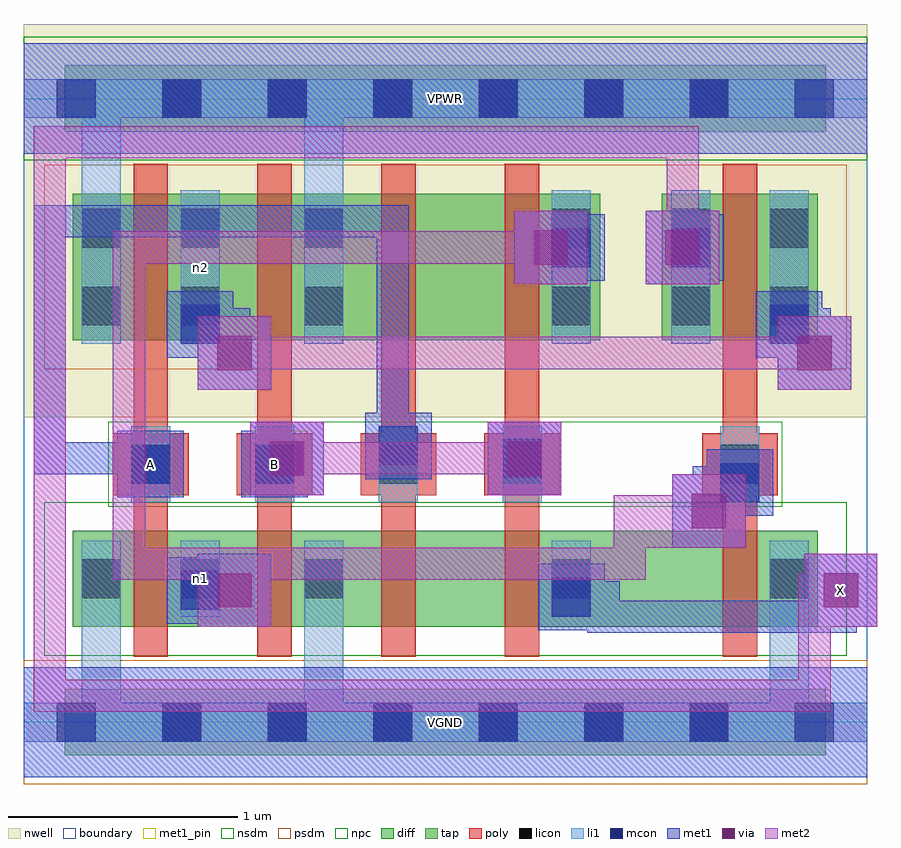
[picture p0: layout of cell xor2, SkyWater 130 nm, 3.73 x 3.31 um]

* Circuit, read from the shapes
.subckt xor2 A B VGND VPWR X n1 n2
XM1 n1 A VGND VGND sky130_fd_pr__nfet_01v8 w=0.42 l=0.15
XM2 VGND B n1 VGND sky130_fd_pr__nfet_01v8 w=0.42 l=0.15
XM3 n3 A VGND VGND sky130_fd_pr__nfet_01v8 w=0.42 l=0.15
XM4 X B n3 VGND sky130_fd_pr__nfet_01v8 w=0.42 l=0.15
XM5 VGND n1 X VGND sky130_fd_pr__nfet_01v8 w=0.42 l=0.15
XM6 n2 A VPWR VPWR sky130_fd_pr__pfet_01v8 w=0.64 l=0.15
XM7 VPWR B n2 VPWR sky130_fd_pr__pfet_01v8 w=0.64 l=0.15
XM8 n4 A VPWR VPWR sky130_fd_pr__pfet_01v8 w=0.64 l=0.15
XM9 n1 B n4 VPWR sky130_fd_pr__pfet_01v8 w=0.64 l=0.15
XM10 n2 n1 X VPWR sky130_fd_pr__pfet_01v8 w=0.64 l=0.15
.ends

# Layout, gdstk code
import gdstk
lib = gdstk.Library(unit=1e-6, precision=1e-09)
def R(c, l, rs):  # rectangles x0, y0, x1, y1
    for r in rs: c.add(gdstk.rectangle(r[:2], r[2:], *l))
def A(c, l, x, y, w, h, nx, ny, dx, dy):  # array of equal rectangles
    R(c, l, [(x+i*dx, y+j*dy, x+i*dx+w, y+j*dy+h) for i in range(nx) for j in range(ny)])
nwell = (64, 20)
diff = (65, 20)
tap = (65, 44)
poly = (66, 20)
licon = (66, 44)
li1 = (67, 20)
mcon = (67, 44)
met1_pin = (68, 16)
met1 = (68, 20)
via = (68, 44)
met2 = (69, 20)
nsdm = (93, 44)
psdm = (94, 20)
npc = (95, 20)
boundary = (235, 4)

xor2 = lib.new_cell('xor2')
R(xor2, nwell, [(0,1.33,3.68,3.045)])
R(xor2, diff, [(0.215,0.415,3.465,0.835), (0.215,1.665,2.515,2.305), (2.785,1.665,3.465,2.305)])
R(xor2, tap, [(0.18,-0.145,3.5,0.145), (0.18,2.575,3.5,2.865)])
A(xor2, poly, 0.48, 0.285, 0.15, 2.15, 4, 1, 0.54, 0)
A(xor2, poly, 0.39, 0.99, 0.33, 0.27, 4, 1, 0.54, 0)
R(xor2, poly, [(3.05,0.285,3.2,2.435), (2.96,0.99,3.29,1.26)])
A(xor2, licon, 0.605, -0.085, 0.17, 0.17, 6, 2, 0.46, 2.72)
A(xor2, licon, 0.47, 1.04, 0.17, 0.17, 4, 1, 0.54, 0)
R(xor2, licon, [(0.255,0.54,0.425,0.71), (0.685,0.54,0.855,0.71), (1.225,0.54,1.395,0.71), (2.305,0.54,2.475,0.71), (3.255,0.54,3.425,0.71), (3.04,1.04,3.21,1.21), (0.255,1.73,0.425,1.9), (0.685,1.73,0.855,1.9), (1.225,1.73,1.395,1.9), (2.305,1.73,2.475,1.9), (2.825,1.73,2.995,1.9), (3.255,1.73,3.425,1.9), (0.255,2.07,0.425,2.24), (0.685,2.07,0.855,2.24), (1.225,2.07,1.395,2.24), (2.305,2.07,2.475,2.24), (2.825,2.07,2.995,2.24), (3.255,2.07,3.425,2.24)])
A(xor2, li1, 0.47, 0.96, 0.17, 0.33, 4, 1, 0.54, 0)
R(xor2, li1, [(0,-0.085,3.68,0.085), (0.255,-0.085,0.425,0.79), (1.225,-0.085,1.395,0.79), (3.255,-0.085,3.425,0.79), (0.255,0.46,0.425,0.79), (0.685,0.46,0.855,0.79), (1.225,0.46,1.395,0.79), (2.305,0.46,2.475,0.79), (3.255,0.46,3.425,0.79), (3.04,0.96,3.21,1.29), (0.255,1.65,0.425,2.32), (0.255,1.65,0.425,2.805), (0.685,1.65,0.855,2.32), (1.225,1.65,1.395,2.32), (1.225,1.65,1.395,2.805), (2.305,1.65,2.475,2.32), (2.825,1.65,2.995,2.32), (3.255,1.65,3.425,2.32), (0,2.635,3.68,2.805)])
A(xor2, mcon, 0.145, -0.085, 0.17, 0.17, 8, 2, 0.46, 2.72)
R(xor2, mcon, [(2.305,0.46,2.475,0.63), (0.685,0.49,0.855,0.66), (3.04,0.96,3.21,1.13), (0.47,1.04,0.64,1.21), (1.01,1.04,1.18,1.21), (2.09,1.065,2.26,1.235), (1.55,1.12,1.72,1.29), (0.685,1.65,0.855,1.82), (3.255,1.65,3.425,1.82), (2.305,1.985,2.475,2.155), (2.825,1.985,2.995,2.155)])
R(xor2, met1_pin, [(0,-0.24,3.68,0.24), (3.405,0.415,3.725,0.735), (0.41,0.98,0.7,1.27), (0.95,0.98,1.24,1.27), (0,2.48,3.68,2.96)])
R(xor2, met1, [(0,-0.24,3.68,0.24), (2.46,0.39,2.6,0.615), (2.46,0.39,3.635,0.53), (3.495,0.39,3.635,0.645), (2.245,0.4,2.535,0.69), (0.76,0.415,1.08,0.735), (3.405,0.415,3.725,0.735), (0.625,0.43,0.915,0.72), (2.32,0.475,2.6,0.615), (0.7,0.505,0.99,0.645), (2.83,0.76,3.15,1.08), (2.92,0.85,3.06,1.115), (2.98,0.9,3.27,1.19), (2.92,0.975,3.195,1.115), (0.41,0.98,0.7,1.27), (0.95,0.98,1.24,1.27), (0.99,0.99,1.31,1.31), (2.025,0.99,2.345,1.31), (2.03,1.005,2.32,1.295), (1.49,1.06,1.78,1.35), (0.045,1.08,0.645,1.22), (0.045,1.08,0.185,2.255), (0.505,1.08,0.645,1.22), (1.08,1.08,1.22,1.22), (2.105,1.08,2.255,1.22), (1.54,1.135,1.705,1.275), (1.54,1.135,1.68,1.45), (1.54,1.31,1.68,2.255), (0.76,1.45,1.08,1.77), (3.29,1.45,3.61,1.77), (0.85,1.54,0.99,1.805), (3.38,1.54,3.52,1.805), (0.625,1.59,0.915,1.88), (3.195,1.59,3.485,1.88), (0.7,1.665,0.99,1.805), (3.27,1.665,3.52,1.805), (2.14,1.91,2.46,2.23), (2.715,1.91,3.035,2.23), (2.245,1.925,2.535,2.215), (2.765,1.925,3.055,2.215), (2.23,2,2.46,2.14), (2.805,2,2.98,2.14), (0.045,2.115,1.68,2.255), (0,2.48,3.68,2.96)])
R(xor2, via, [(0.845,0.5,0.995,0.65), (3.49,0.5,3.64,0.65), (2.915,0.845,3.065,0.995), (1.075,1.075,1.225,1.225), (2.11,1.075,2.26,1.225), (0.845,1.535,0.995,1.685), (3.375,1.535,3.525,1.685), (2.225,1.995,2.375,2.145), (2.8,1.995,2.95,2.145)])
R(xor2, met2, [(0.045,0.045,3.52,0.185), (0.045,0.045,0.185,2.6), (3.38,0.045,3.52,0.645), (0.76,0.415,1.08,0.735), (3.405,0.415,3.725,0.735), (0.85,0.505,0.99,0.76), (3.38,0.505,3.635,0.645), (0.39,0.62,0.99,0.76), (0.39,0.62,0.53,2.14), (0.85,0.62,2.715,0.76), (2.575,0.62,2.715,0.99), (2.715,0.76,2.83,0.99), (2.83,0.76,3.15,1.08), (2.575,0.85,3.06,0.99), (0.99,0.99,1.31,1.31), (2.025,0.99,2.345,1.31), (1.08,1.08,2.255,1.22), (0.76,1.45,1.08,1.77), (3.29,1.45,3.61,1.77), (0.85,1.54,3.52,1.68), (2.14,1.91,2.46,2.23), (2.715,1.91,3.035,2.23), (0.39,2,2.37,2.14), (2.805,2,2.945,2.6), (0.045,2.46,2.945,2.6)])
R(xor2, nsdm, [(0.09,0.29,3.59,0.96), (0,2.45,3.68,2.99)])
R(xor2, psdm, [(0,-0.27,3.68,0.27), (0.09,1.54,3.59,2.43)])
R(xor2, npc, [(0.37,0.94,3.31,1.31)])
R(xor2, boundary, [(0,0,3.68,2.72)])
xor2.add(gdstk.Label('n1', (0.77,0.625), layer=67, texttype=5))
xor2.add(gdstk.Label('n2', (0.77,1.985), layer=67, texttype=5))
xor2.add(gdstk.Label('A', (0.555,1.125), layer=68, texttype=5))
xor2.add(gdstk.Label('B', (1.095,1.125), layer=68, texttype=5))
xor2.add(gdstk.Label('X', (3.565,0.575), layer=68, texttype=5))
xor2.add(gdstk.Label('VPWR', (1.84,2.72), layer=68, texttype=5))
xor2.add(gdstk.Label('VGND', (1.84,0), layer=68, texttype=5))
xor2.add(gdstk.Label('A', (0.555,1.125), layer=68, texttype=16))
xor2.add(gdstk.Label('B', (1.095,1.125), layer=68, texttype=16))
xor2.add(gdstk.Label('X', (3.565,0.575), layer=68, texttype=16))
xor2.add(gdstk.Label('VPWR', (1.84,2.72), layer=68, texttype=16))
xor2.add(gdstk.Label('VGND', (1.84,0), layer=68, texttype=16))

lib.write_gds('xor2.gds')
